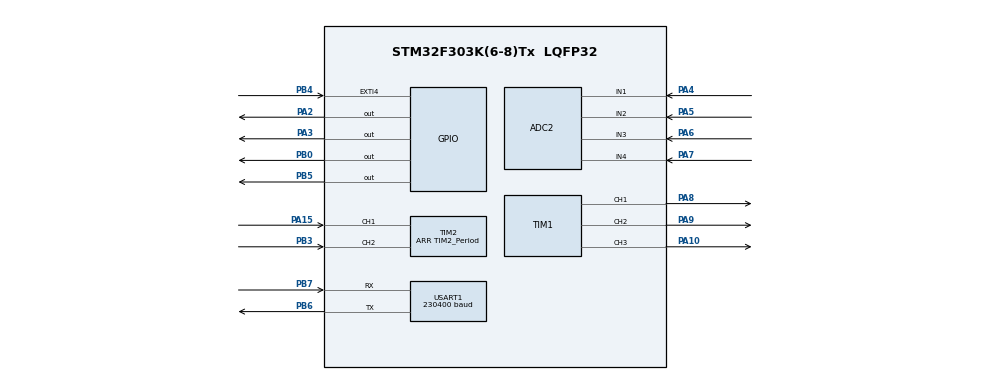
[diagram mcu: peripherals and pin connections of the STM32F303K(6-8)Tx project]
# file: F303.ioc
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ADC2.Channel-0\#ChannelRegularConversion=ADC_CHANNEL_1
ADC2.Channel-1\#ChannelRegularConversion=ADC_CHANNEL_2
ADC2.Channel-2\#ChannelRegularConversion=ADC_CHANNEL_3
ADC2.Channel-3\#ChannelRegularConversion=ADC_CHANNEL_4
ADC2.Channel-4\#ChannelRegularConversion=ADC_CHANNEL_VREFINT
ADC2.ContinuousConvMode=ENABLE
ADC2.DMAContinuousRequests=ENABLE
ADC2.EOCSelection=ADC_EOC_SINGLE_SEQ_CONV
ADC2.NbrOfConversion=5
ADC2.NbrOfConversionFlag=1
ADC2.Offset-0\#ChannelRegularConversion=0
ADC2.Offset-1\#ChannelRegularConversion=0
ADC2.Offset-2\#ChannelRegularConversion=0
ADC2.Offset-3\#ChannelRegularConversion=0
ADC2.Offset-4\#ChannelRegularConversion=0
ADC2.OffsetNumber-0\#ChannelRegularConversion=ADC_OFFSET_NONE
ADC2.OffsetNumber-1\#ChannelRegularConversion=ADC_OFFSET_NONE
ADC2.OffsetNumber-2\#ChannelRegularConversion=ADC_OFFSET_NONE
ADC2.OffsetNumber-3\#ChannelRegularConversion=ADC_OFFSET_NONE
ADC2.OffsetNumber-4\#ChannelRegularConversion=ADC_OFFSET_NONE
ADC2.Rank-0\#ChannelRegularConversion=1
ADC2.Rank-1\#ChannelRegularConversion=2
ADC2.Rank-2\#ChannelRegularConversion=3
ADC2.Rank-3\#ChannelRegularConversion=4
ADC2.Rank-4\#ChannelRegularConversion=5
ADC2.SamplingTime-0\#ChannelRegularConversion=ADC_SAMPLETIME_61CYCLES_5
ADC2.SamplingTime-1\#ChannelRegularConversion=ADC_SAMPLETIME_61CYCLES_5
ADC2.SamplingTime-2\#ChannelRegularConversion=ADC_SAMPLETIME_61CYCLES_5
ADC2.SamplingTime-3\#ChannelRegularConversion=ADC_SAMPLETIME_61CYCLES_5
ADC2.SamplingTime-4\#ChannelRegularConversion=ADC_SAMPLETIME_181CYCLES_5
ADC2.SubFamily=STM32F303x8
Dma.ADC2.0.Direction=DMA_PERIPH_TO_MEMORY
Dma.ADC2.0.Instance=DMA1_Channel2
Dma.ADC2.0.MemDataAlignment=DMA_MDATAALIGN_HALFWORD
Dma.ADC2.0.MemInc=DMA_MINC_ENABLE
Dma.ADC2.0.Mode=DMA_CIRCULAR
Dma.ADC2.0.PeriphDataAlignment=DMA_PDATAALIGN_HALFWORD
Dma.ADC2.0.PeriphInc=DMA_PINC_DISABLE
Dma.ADC2.0.Priority=DMA_PRIORITY_LOW
Dma.Request0=ADC2
Mcu.Family=STM32F3
Mcu.Name=STM32F303K(6-8)Tx
Mcu.Package=LQFP32
Mcu.UserConstants=TIM1_Prescaler,14400-1;TIM1_Period,10000-1;TIM2_Period,2000-1;TIM6_Period,10000-1;TIM6_Prescaler,7200-1
NVIC.DMA1_Channel2_IRQn=true\:0\:0\:false\:false\:true
NVIC.PriorityGroup=NVIC_PRIORITYGROUP_4
NVIC.TIM6_DAC1_IRQn=true\:0\:0\:false\:false\:true
NVIC.USART1_IRQn=true\:0\:0\:false\:false\:true
PA10.Signal=S_TIM1_CH3
PA13.Mode=Serial_Wire
PA13.Signal=SYS_JTMS-SWDIO
PA14.Mode=Serial_Wire
PA14.Signal=SYS_JTCK-SWCLK
PA15.Signal=S_TIM2_CH1_ETR
PA2.Signal=GPIO_Output
PA3.Signal=GPIO_Output
PA4.Mode=IN1-Single-Ended
PA4.Signal=ADC2_IN1
PA5.Mode=IN2-Single-Ended
PA5.Signal=ADC2_IN2
PA6.Mode=IN3-Single-Ended
PA6.Signal=ADC2_IN3
PA7.Mode=IN4-Single-Ended
PA7.Signal=ADC2_IN4
PA8.Signal=S_TIM1_CH1
PA9.Signal=S_TIM1_CH2
PB0.Signal=GPIO_Output
PB3.Signal=S_TIM2_CH2
PB4.Signal=GPXTI4
PB5.Signal=GPIO_Output
PB6.Mode=Asynchronous
PB6.Signal=USART1_TX
PB7.Mode=Asynchronous
PB7.Signal=USART1_RX
PF0\ /\ OSC_IN.Mode=HSE-External-Oscillator
PF0\ /\ OSC_IN.Signal=RCC_OSC_IN
PF1\ /\ OSC_OUT.Mode=HSE-External-Oscillator
PF1\ /\ OSC_OUT.Signal=RCC_OSC_OUT
ProjectManager.HeapSize=0x200
ProjectManager.StackSize=0x400
ProjectManager.TargetToolchain=SW4STM32
RCC.AHBFreq_Value=72000000
RCC.APB1CLKDivider=RCC_HCLK_DIV2
RCC.APB1Freq_Value=36000000
RCC.APB1TimFreq_Value=72000000
RCC.APB2Freq_Value=72000000
RCC.APB2TimFreq_Value=72000000
RCC.CortexFreq_Value=72000000
RCC.HCLKFreq_Value=72000000
RCC.HSE_VALUE=8000000
RCC.HSI_VALUE=8000000
RCC.PLLMUL=RCC_PLL_MUL9
RCC.PLLSourceVirtual=RCC_PLLSOURCE_HSE
RCC.SYSCLKFreq_VALUE=72000000
RCC.SYSCLKSourceVirtual=RCC_SYSCLKSOURCE_PLLCLK
RCC.TIM1Selection=RCC_TIM1CLK_PLLCLK
RCC.Usart1ClockSelection=RCC_USART1CLKSOURCE_SYSCLK
SH.S_TIM1_CH1.0=TIM1_CH1,PWM Generation1 CH1
SH.S_TIM1_CH2.0=TIM1_CH2,PWM Generation2 CH2
SH.S_TIM1_CH3.0=TIM1_CH3,PWM Generation3 CH3
SH.S_TIM2_CH1_ETR.0=TIM2_CH1,Encoder_Interface
SH.S_TIM2_CH2.0=TIM2_CH2,Encoder_Interface
TIM1.Channel-PWM\ Generation1\ CH1=TIM_CHANNEL_1
TIM1.Channel-PWM\ Generation2\ CH2=TIM_CHANNEL_2
TIM1.Channel-PWM\ Generation3\ CH3=TIM_CHANNEL_3
TIM1.CounterMode=TIM_COUNTERMODE_CENTERALIGNED1
TIM1.Prescaler=TIM1_Prescaler
TIM1.RepetitionCounter=TIM1_Period
TIM2.EncoderMode=TIM_ENCODERMODE_TI12
TIM2.Period=TIM2_Period
TIM6.Period=TIM6_Period
TIM6.Prescaler=TIM6_Prescaler
USART1.BaudRate=230400
USART1.VirtualMode-Asynchronous=VM_ASYNC
USART1.WordLength=WORDLENGTH_8B
VP_ADC2_Vref_Input.Mode=IN-Vrefint
VP_TIM6_VS_ClockSourceINT.Mode=Enable_Timer
board=F303

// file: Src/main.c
/**
  ******************************************************************************
  * File Name          : main.c
  * Description        : Main program body
  ******************************************************************************
  ** This notice applies to any and all portions of this file
  * that are not between comment pairs USER CODE BEGIN and
  * USER CODE END. Other portions of this file, whether
  * inserted by the user or by software development tools
  * are owned by their respective copyright owners.
  *
  * COPYRIGHT(c) 2017 STMicroelectronics
  *
  * Redistribution and use in source and binary forms, with or without modification,
  * are permitted provided that the following conditions are met:
  *   1. Redistributions of source code must retain the above copyright notice,
  *      this list of conditions and the following disclaimer.
  *   2. Redistributions in binary form must reproduce the above copyright notice,
  *      this list of conditions and the following disclaimer in the documentation
  *      and/or other materials provided with the distribution.
  *   3. Neither the name of STMicroelectronics nor the names of its contributors
  *      may be used to endorse or promote products derived from this software
  *      without specific prior written permission.
  *
  * THIS SOFTWARE IS PROVIDED BY THE COPYRIGHT HOLDERS AND CONTRIBUTORS "AS IS"
  * AND ANY EXPRESS OR IMPLIED WARRANTIES, INCLUDING, BUT NOT LIMITED TO, THE
  * IMPLIED WARRANTIES OF MERCHANTABILITY AND FITNESS FOR A PARTICULAR PURPOSE ARE
  * DISCLAIMED. IN NO EVENT SHALL THE COPYRIGHT HOLDER OR CONTRIBUTORS BE LIABLE
  * FOR ANY DIRECT, INDIRECT, INCIDENTAL, SPECIAL, EXEMPLARY, OR CONSEQUENTIAL
  * DAMAGES (INCLUDING, BUT NOT LIMITED TO, PROCUREMENT OF SUBSTITUTE GOODS OR
  * SERVICES; LOSS OF USE, DATA, OR PROFITS; OR BUSINESS INTERRUPTION) HOWEVER
  * CAUSED AND ON ANY THEORY OF LIABILITY, WHETHER IN CONTRACT, STRICT LIABILITY,
  * OR TORT (INCLUDING NEGLIGENCE OR OTHERWISE) ARISING IN ANY WAY OUT OF THE USE
  * OF THIS SOFTWARE, EVEN IF ADVISED OF THE POSSIBILITY OF SUCH DAMAGE.
  *
  ******************************************************************************
  */
#include "main.h"
#include "adc.h"
#include "dma.h"
#include "tim.h"
#include "usart.h"
#include "gpio.h"

/* USER CODE BEGIN PV */
/* Private variables ---------------------------------------------------------*/
  const uint8_t uartbuf[] = "hello!\r\n";
  uint8_t ubSend = 0;
/* USER CODE END PV */

static void LL_Init(void);
void SystemClock_Config(void);

/* USER CODE BEGIN PFP */
/* Private function prototypes -----------------------------------------------*/

/* USER CODE END PFP */

/* USER CODE BEGIN 0 */
void send_uart(void){
  /* Send characters one per one, until last char to be sent */
  while (ubSend < sizeof(uartbuf))
  {
    /* Wait for TXE flag to be raised */
    while (!LL_USART_IsActiveFlag_TXE(USART1))
    {

    }

    /* If last char to be sent, clear TC flag */
    if (ubSend == (sizeof(uartbuf) - 1))
    {
      LL_USART_ClearFlag_TC(USART1);
    }

    /* Write character in Transmit Data register.
       TXE flag is cleared by writing data in TDR register */
    LL_USART_TransmitData8(USART1, uartbuf[ubSend++]);
  }
  /* Wait for TC flag to be raised for last char */
  while (!LL_USART_IsActiveFlag_TC(USART1))
  {

  }
}
/* USER CODE END 0 */

int main(void)
{

  /* MCU Configuration----------------------------------------------------------*/

  /* Reset of all peripherals, Initializes the Flash interface and the Systick. */
  LL_Init();

  /* Configure the system clock */
  SystemClock_Config();

  /* Initialize all configured peripherals */
  MX_GPIO_Init();
  MX_DMA_Init();
  MX_ADC2_Init();
  MX_TIM1_Init();
  MX_TIM2_Init();
  MX_USART1_UART_Init();
  MX_TIM6_Init();

  /* USER CODE BEGIN 2 */

  Activate_ADC();
  adc_start();
  //LL_USART_EnableIT_RXNE(USART1);
  //LL_USART_EnableIT_TXE(USART1);
  printf("Build: %s %s\n",__DATE__,__TIME__);
  /* USER CODE END 2 */

  /* Infinite loop */
  while (1)
  {

  /* USER CODE BEGIN 3 */
    LL_mDelay(50);
    ubSend = 0;
    LL_GPIO_TogglePin(GPIOB, LL_GPIO_PIN_5);
    LL_GPIO_TogglePin(GPIOB, LL_GPIO_PIN_0);
    LL_GPIO_TogglePin(GPIOA, LL_GPIO_PIN_2);
    LL_GPIO_TogglePin(GPIOA, LL_GPIO_PIN_3);
    //send_uart();
    printf("1 %4d,%4d,%4d,%4d,%4d,\n",ADCBuffer2[0],ADCBuffer2[1],ADCBuffer2[2],ADCBuffer2[3],ADCBuffer2[4]);
    printf("2 %4d,%4d,%4d,%4d,%4d,\n",ADCBuffer2[5],ADCBuffer2[6],ADCBuffer2[7],ADCBuffer2[8],ADCBuffer2[9]);
  }
  /* USER CODE END 3 */

}

static void LL_Init(void)
{

  LL_APB2_GRP1_EnableClock(LL_APB2_GRP1_PERIPH_SYSCFG);

  NVIC_SetPriorityGrouping(NVIC_PRIORITYGROUP_4);

  /* System interrupt init*/
  /* MemoryManagement_IRQn interrupt configuration */
  NVIC_SetPriority(MemoryManagement_IRQn, NVIC_EncodePriority(NVIC_GetPriorityGrouping(),0, 0));
  /* BusFault_IRQn interrupt configuration */
  NVIC_SetPriority(BusFault_IRQn, NVIC_EncodePriority(NVIC_GetPriorityGrouping(),0, 0));
  /* UsageFault_IRQn interrupt configuration */
  NVIC_SetPriority(UsageFault_IRQn, NVIC_EncodePriority(NVIC_GetPriorityGrouping(),0, 0));
  /* SVCall_IRQn interrupt configuration */
  NVIC_SetPriority(SVCall_IRQn, NVIC_EncodePriority(NVIC_GetPriorityGrouping(),0, 0));
  /* DebugMonitor_IRQn interrupt configuration */
  NVIC_SetPriority(DebugMonitor_IRQn, NVIC_EncodePriority(NVIC_GetPriorityGrouping(),0, 0));
  /* PendSV_IRQn interrupt configuration */
  NVIC_SetPriority(PendSV_IRQn, NVIC_EncodePriority(NVIC_GetPriorityGrouping(),0, 0));
  /* SysTick_IRQn interrupt configuration */
  NVIC_SetPriority(SysTick_IRQn, NVIC_EncodePriority(NVIC_GetPriorityGrouping(),0, 0));

}

/** System Clock Configuration
*/
void SystemClock_Config(void)
{

  LL_FLASH_SetLatency(LL_FLASH_LATENCY_2);

   if(LL_FLASH_GetLatency() != LL_FLASH_LATENCY_2)
  {
  Error_Handler();
  }
  LL_RCC_HSE_Enable();

   /* Wait till HSE is ready */
  while(LL_RCC_HSE_IsReady() != 1)
  {

  }
  LL_RCC_PLL_ConfigDomain_SYS(LL_RCC_PLLSOURCE_HSE_DIV_1, LL_RCC_PLL_MUL_9);

  LL_RCC_PLL_Enable();

   /* Wait till PLL is ready */
  while(LL_RCC_PLL_IsReady() != 1)
  {

  }
  LL_RCC_SetAHBPrescaler(LL_RCC_SYSCLK_DIV_1);

  LL_RCC_SetAPB1Prescaler(LL_RCC_APB1_DIV_2);

  LL_RCC_SetAPB2Prescaler(LL_RCC_APB1_DIV_1);

  LL_RCC_SetSysClkSource(LL_RCC_SYS_CLKSOURCE_PLL);

   /* Wait till System clock is ready */
  while(LL_RCC_GetSysClkSource() != LL_RCC_SYS_CLKSOURCE_STATUS_PLL)
  {

  }
  LL_Init1msTick(72000000);

  LL_SYSTICK_SetClkSource(LL_SYSTICK_CLKSOURCE_HCLK);

  LL_SetSystemCoreClock(72000000);

  LL_RCC_SetUSARTClockSource(LL_RCC_USART1_CLKSOURCE_SYSCLK);

  LL_RCC_SetTIMClockSource(LL_RCC_TIM1_CLKSOURCE_PLL);

  LL_RCC_SetADCClockSource(LL_RCC_ADC12_CLKSRC_PLL_DIV_1);

  /* SysTick_IRQn interrupt configuration */
  NVIC_SetPriority(SysTick_IRQn, NVIC_EncodePriority(NVIC_GetPriorityGrouping(),0, 0));
}

void _Error_Handler(char * file, int line)
{
  while(1)
  {
  }
}

/************************ (C) COPYRIGHT STMicroelectronics *****END OF FILE****/
